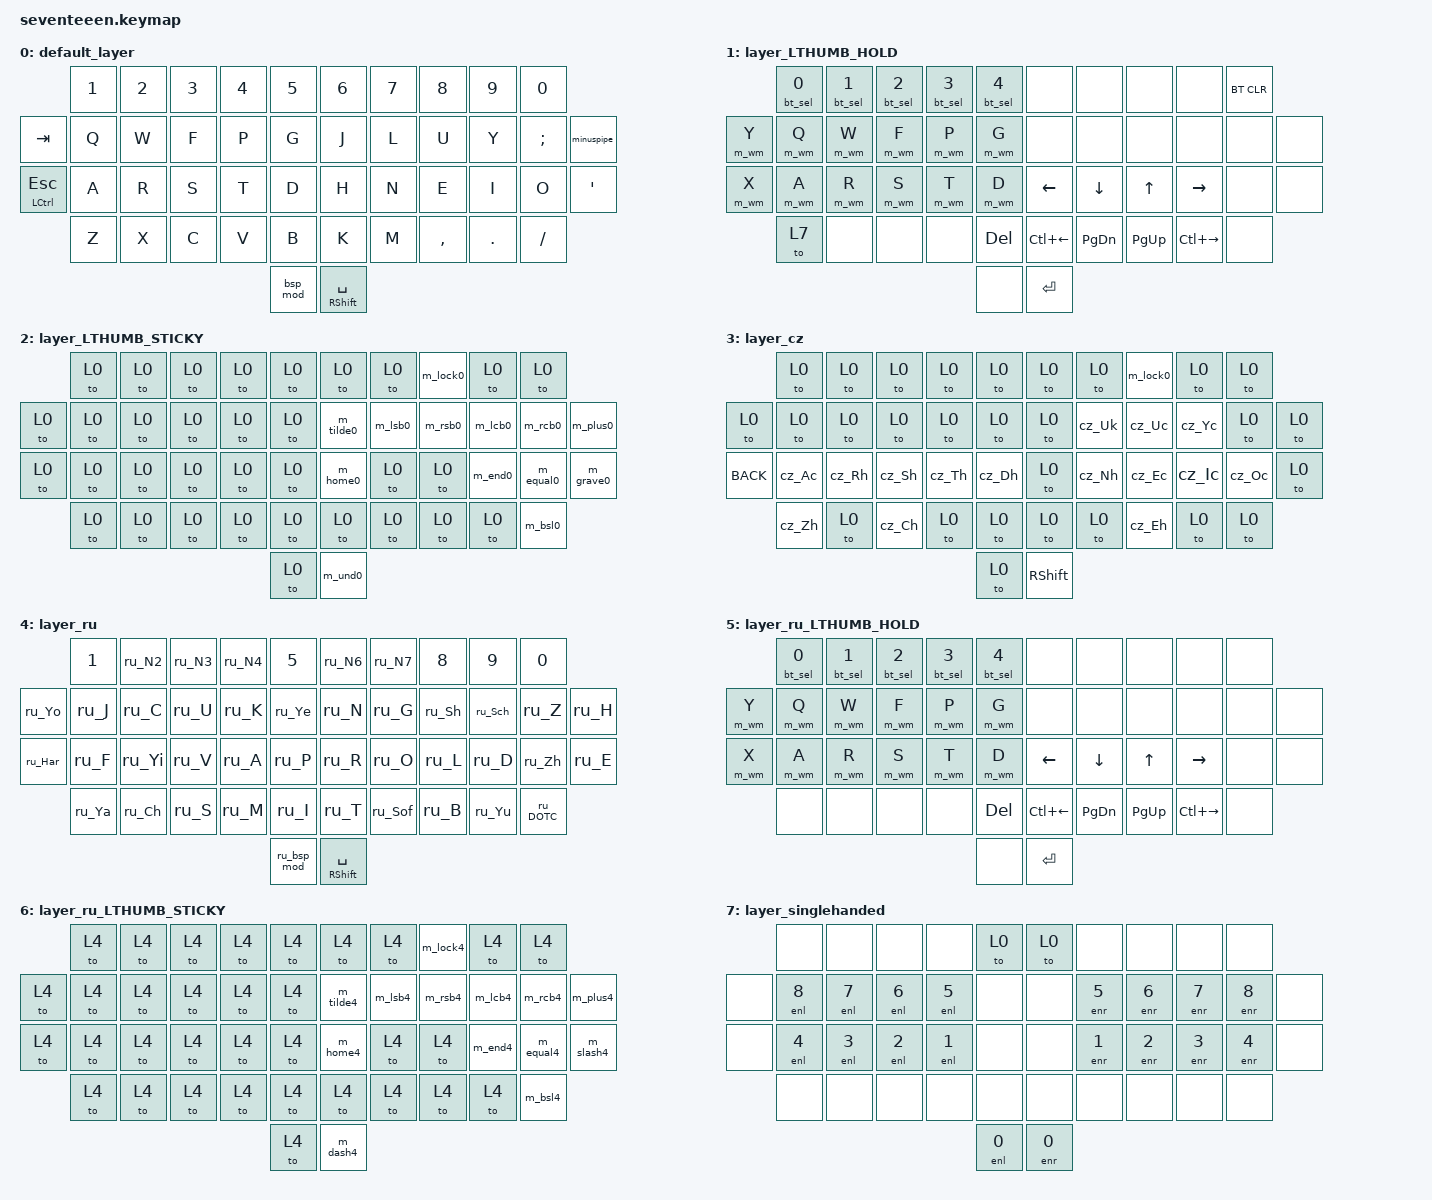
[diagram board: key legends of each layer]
#include <behaviors.dtsi>
#include <dt-bindings/zmk/keys.h>
#include <dt-bindings/zmk/bt.h>
//#include <dt-bindings/zmk/ext_power.h>

/ {
    behaviors {
        #include "macros.dtsi"
        #include "custom.dtsi"
        #include "cz.dtsi"
        #include "ru.dtsi"
        #include "engine.dtsi"
    };
    keymap {
        compatible = "zmk,keymap";

        default_layer {  // 0
            bindings = <
//            ╭──────────┬──────────┬──────────┬──────────┬──────────╮   ╭──────────┬──────────┬──────────┬──────────┬──────────╮
                 &kp N1     &kp N2     &kp N3     &kp N4     &kp N5         &kp N6     &kp N7     &kp N8     &kp N9     &kp N0
// ╭──────────┼──────────┼──────────┼──────────┼──────────┼──────────┤   ├──────────┼──────────┼──────────┼──────────┼──────────┼──────────╮
     &kp TAB     &kp Q      &kp W      &kp F      &kp P      &kp G           &kp J      &kp L      &kp U      &kp Y    &kp SEMI  &minuspipe
// ├──────────┼──────────┼──────────┼──────────┼──────────┼──────────┤   ├──────────┼──────────┼──────────┼──────────┼──────────┼──────────┤
 &mt LCTRL ESC   &kp A      &kp R      &kp S      &kp T      &kp D           &kp H      &kp N      &kp E      &kp I      &kp O     &kp SQT
// ╰──────────┼──────────┼──────────┼──────────┼──────────┼──────────┤   ├──────────┼──────────┼──────────┼──────────┼──────────┼──────────╯
                 &kp Z      &kp X      &kp C      &kp V      &kp B           &kp K      &kp M    &kp COMMA   &kp DOT   &kp FSLH
//            ╰──────────┴──────────┴──────────┴──────────┼──────────┤   ├──────────┼──────────┴──────────┴──────────┴──────────╯
                                                            &bsp_mod     &mt RSHIFT SPACE
//                                                        ╰──────────╯   ╰──────────╯
            >;
        };
        layer_LTHUMB_HOLD {  // 1
            bindings = <
//            ╭──────────┬──────────┬──────────┬──────────┬──────────╮   ╭──────────┬──────────┬──────────┬──────────┬──────────╮
               &bt_sel 0  &bt_sel 1  &bt_sel 2  &bt_sel 3  &bt_sel 4         &none      &none      &none      &none   &bt BT_CLR

// ╭──────────┼──────────┼──────────┼──────────┼──────────┼──────────┤   ├──────────┼──────────┼──────────┼──────────┼──────────┼──────────╮
     &m_wm Y    &m_wm Q    &m_wm W    &m_wm F    &m_wm P    &m_wm G          &none      &none      &none      &none      &none      &none
// ├──────────┼──────────┼──────────┼──────────┼──────────┼──────────┤   ├──────────┼──────────┼──────────┼──────────┼──────────┼──────────┤
     &m_wm X    &m_wm A    &m_wm R    &m_wm S    &m_wm T    &m_wm D        &kp LEFT   &kp DOWN    &kp UP    &kp RIGHT    &none      &none
// ╰──────────┼──────────┼──────────┼──────────┼──────────┼──────────┤   ├──────────┼──────────┼──────────┼──────────┼──────────┼──────────╯
                 &to 7      &none      &none      &none    &kp DELETE    &kp LC(LEFT) &kp PG_DN &kp PG_UP &kp LC(RIGHT)  &none
//            ╰──────────┴──────────┴──────────┴──────────┼──────────┤   ├──────────┼──────────┴──────────┴──────────┴──────────╯
                                                             &none         &kp ENTER
//                                                        ╰──────────╯   ╰──────────╯
            >;
        };
        layer_LTHUMB_STICKY {  // 2
            bindings = <
//            ╭──────────┬──────────┬──────────┬──────────┬──────────╮   ╭──────────┬──────────┬──────────┬──────────┬──────────╮
                 &to 0      &to 0      &to 0      &to 0      &to 0           &to 0      &to 0    &m_lock0     &to 0      &to 0
// ╭──────────┼──────────┼──────────┼──────────┼──────────┼──────────┤   ├──────────┼──────────┼──────────┼──────────┼──────────┼──────────╮
      &to 0      &to 0      &to 0      &to 0      &to 0      &to 0         &m_tilde0   &m_lsb0    &m_rsb0    &m_lcb0    &m_rcb0   &m_plus0
// ├──────────┼──────────┼──────────┼──────────┼──────────┼──────────┤   ├──────────┼──────────┼──────────┼──────────┼──────────┼──────────┤
      &to 0      &to 0      &to 0      &to 0      &to 0      &to 0         &m_home0     &to 0      &to 0     &m_end0   &m_equal0  &m_grave0
// ╰──────────┼──────────┼──────────┼──────────┼──────────┼──────────┤   ├──────────┼──────────┼──────────┼──────────┼──────────┼──────────╯
                 &to 0      &to 0      &to 0      &to 0      &to 0           &to 0      &to 0      &to 0      &to 0     &m_bsl0
//            ╰──────────┴──────────┴──────────┴──────────┼──────────┤   ├──────────┼──────────┴──────────┴──────────┴──────────╯
                                                             &to 0          &m_und0
//                                                        ╰──────────╯   ╰──────────╯
            >;
        };
        layer_cz {  // 3
            bindings = <
//            ╭──────────┬──────────┬──────────┬──────────┬──────────╮   ╭──────────┬──────────┬──────────┬──────────┬──────────╮
                 &to 0      &to 0      &to 0      &to 0      &to 0           &to 0      &to 0    &m_lock0     &to 0      &to 0
// ╭──────────┼──────────┼──────────┼──────────┼──────────┼──────────┤   ├──────────┼──────────┼──────────┼──────────┼──────────┼──────────╮
      &to 0      &to 0      &to 0      &to 0      &to 0      &to 0           &to 0     &cz_Uk     &cz_Uc     &cz_Yc      &to 0      &to 0
// ├──────────┼──────────┼──────────┼──────────┼──────────┼──────────┤   ├──────────┼──────────┼──────────┼──────────┼──────────┼──────────┤
    &kp K_BACK   &cz_Ac     &cz_Rh     &cz_Sh     &cz_Th     &cz_Dh          &to 0     &cz_Nh     &cz_Ec     &cz_Ic     &cz_Oc      &to 0
// ╰──────────┼──────────┼──────────┼──────────┼──────────┼──────────┤   ├──────────┼──────────┼──────────┼──────────┼──────────┼──────────╯
                 &cz_Zh     &to 0      &cz_Ch     &to 0      &to 0           &to 0      &to 0     &cz_Eh      &to 0      &to 0
//            ╰──────────┴──────────┴──────────┴──────────┼──────────┤   ├──────────┼──────────┴──────────┴──────────┴──────────╯
                                                             &to 0        &kp RSHIFT
//                                                        ╰──────────╯   ╰──────────╯
            >;
        };
        layer_ru {  // 4
            bindings = <
//            ╭──────────┬──────────┬──────────┬──────────┬──────────╮   ╭──────────┬──────────┬──────────┬──────────┬──────────╮
                 &kp N1     &ru_N2     &ru_N3     &ru_N4     &kp N5         &ru_N6     &ru_N7     &kp N8     &kp N9     &kp N0
// ╭──────────┼──────────┼──────────┼──────────┼──────────┼──────────┤   ├──────────┼──────────┼──────────┼──────────┼──────────┼──────────╮
      &ru_Yo     &ru_J      &ru_C      &ru_U      &ru_K      &ru_Ye         &ru_N      &ru_G     &ru_Sh     &ru_Sch     &ru_Z      &ru_H
// ├──────────┼──────────┼──────────┼──────────┼──────────┼──────────┤   ├──────────┼──────────┼──────────┼──────────┼──────────┼──────────┤
     &ru_Har     &ru_F      &ru_Yi     &ru_V      &ru_A      &ru_P          &ru_R      &ru_O      &ru_L      &ru_D     &ru_Zh      &ru_E
// ╰──────────┼──────────┼──────────┼──────────┼──────────┼──────────┤   ├──────────┼──────────┼──────────┼──────────┼──────────┼──────────╯
                 &ru_Ya     &ru_Ch     &ru_S      &ru_M      &ru_I          &ru_T     &ru_Sof     &ru_B     &ru_Yu    &ru_DOTC
//            ╰──────────┴──────────┴──────────┴──────────┼──────────┤   ├──────────┼──────────┴──────────┴──────────┴──────────╯
                                                          &ru_bsp_mod    &mt RSHIFT SPACE
//                                                        ╰──────────╯   ╰──────────╯
            >;
        };
        layer_ru_LTHUMB_HOLD {  // 5
            bindings = <
//            ╭──────────┬──────────┬──────────┬──────────┬──────────╮   ╭──────────┬──────────┬──────────┬──────────┬──────────╮
               &bt_sel 0  &bt_sel 1  &bt_sel 2  &bt_sel 3  &bt_sel 4         &none      &none      &none      &none      &none
// ╭──────────┼──────────┼──────────┼──────────┼──────────┼──────────┤   ├──────────┼──────────┼──────────┼──────────┼──────────┼──────────╮
     &m_wm Y    &m_wm Q    &m_wm W    &m_wm F    &m_wm P    &m_wm G          &none      &none      &none      &none      &none      &none
// ├──────────┼──────────┼──────────┼──────────┼──────────┼──────────┤   ├──────────┼──────────┼──────────┼──────────┼──────────┼──────────┤
     &m_wm X    &m_wm A    &m_wm R    &m_wm S    &m_wm T    &m_wm D        &kp LEFT   &kp DOWN    &kp UP    &kp RIGHT    &none      &none
// ╰──────────┼──────────┼──────────┼──────────┼──────────┼──────────┤   ├──────────┼──────────┼──────────┼──────────┼──────────┼──────────╯
                 &none      &none      &none      &none    &kp DELETE    &kp LC(LEFT) &kp PG_DN &kp PG_UP &kp LC(RIGHT)  &none
//            ╰──────────┴──────────┴──────────┴──────────┼──────────┤   ├──────────┼──────────┴──────────┴──────────┴──────────╯
                                                             &none         &kp ENTER
//                                                        ╰──────────╯   ╰──────────╯
            >;
        };
        layer_ru_LTHUMB_STICKY {  // 6
            bindings = <
//            ╭──────────┬──────────┬──────────┬──────────┬──────────╮   ╭──────────┬──────────┬──────────┬──────────┬──────────╮
                 &to 4      &to 4      &to 4      &to 4      &to 4           &to 4      &to 4    &m_lock4     &to 4      &to 4
// ╭──────────┼──────────┼──────────┼──────────┼──────────┼──────────┤   ├──────────┼──────────┼──────────┼──────────┼──────────┼──────────╮
      &to 4      &to 4      &to 4      &to 4      &to 4      &to 4         &m_tilde4   &m_lsb4    &m_rsb4    &m_lcb4    &m_rcb4   &m_plus4
// ├──────────┼──────────┼──────────┼──────────┼──────────┼──────────┤   ├──────────┼──────────┼──────────┼──────────┼──────────┼──────────┤
      &to 4      &to 4      &to 4      &to 4      &to 4      &to 4         &m_home4     &to 4      &to 4     &m_end4   &m_equal4  &m_slash4
// ╰──────────┼──────────┼──────────┼──────────┼──────────┼──────────┤   ├──────────┼──────────┼──────────┼──────────┼──────────┼──────────╯
                 &to 4      &to 4      &to 4      &to 4      &to 4           &to 4      &to 4      &to 4      &to 4     &m_bsl4
//            ╰──────────┴──────────┴──────────┴──────────┼──────────┤   ├──────────┼──────────┴──────────┴──────────┴──────────╯
                                                             &to 4         &m_dash4
//                                                        ╰──────────╯   ╰──────────╯
            >;
        };
        layer_singlehanded {  // 7
            bindings = <
//            ╭──────────┬──────────┬──────────┬──────────┬──────────╮   ╭──────────┬──────────┬──────────┬──────────┬──────────╮
                 &none      &none      &none      &none      &to 0           &to 0      &none      &none      &none      &none
// ╭──────────┼──────────┼──────────┼──────────┼──────────┼──────────┤   ├──────────┼──────────┼──────────┼──────────┼──────────┼──────────╮
      &none      &enl 8     &enl 7     &enl 6     &enl 5     &none           &none     &enr 5     &enr 6     &enr 7     &enr 8     &none
// ├──────────┼──────────┼──────────┼──────────┼──────────┼──────────┤   ├──────────┼──────────┼──────────┼──────────┼──────────┼──────────┤
      &none      &enl 4     &enl 3     &enl 2     &enl 1     &none           &none     &enr 1     &enr 2     &enr 3     &enr 4     &none
// ╰──────────┼──────────┼──────────┼──────────┼──────────┼──────────┤   ├──────────┼──────────┼──────────┼──────────┼──────────┼──────────╯
                 &none      &none      &none      &none      &none           &none      &none      &none      &none      &none
//            ╰──────────┴──────────┴──────────┴──────────┼──────────┤   ├──────────┼──────────┴──────────┴──────────┴──────────╯
                                                             &enl 0         &enr 0
//                                                        ╰──────────╯   ╰──────────╯
            >;
        };
    };
};
